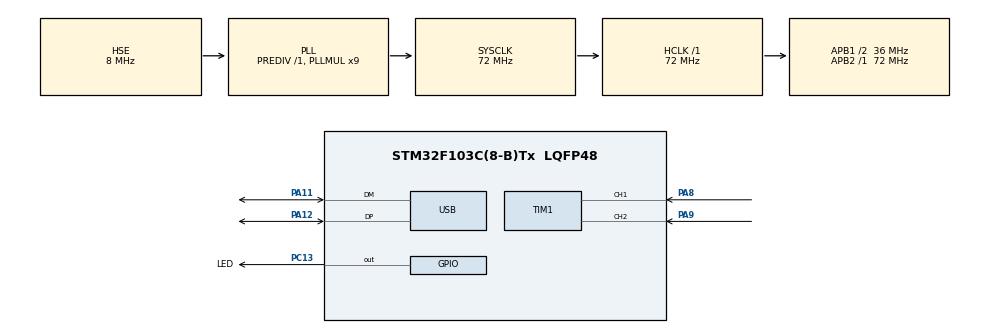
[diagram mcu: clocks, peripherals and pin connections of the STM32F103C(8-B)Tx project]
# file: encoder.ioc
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Mcu.Family=STM32F1
Mcu.Name=STM32F103C(8-B)Tx
Mcu.Package=LQFP48
NVIC.PriorityGroup=NVIC_PRIORITYGROUP_4
NVIC.TIM3_IRQn=true\:0\:0\:false\:false\:true\:true\:true\:true
NVIC.USB_LP_CAN1_RX0_IRQn=true\:0\:0\:false\:false\:true\:false\:true\:true
PA11.Mode=Device
PA11.Signal=USB_DM
PA12.Mode=Device
PA12.Signal=USB_DP
PA8.GPIO_PuPd=GPIO_PULLUP
PA8.Signal=S_TIM1_CH1
PA9.GPIO_PuPd=GPIO_PULLUP
PA9.Signal=S_TIM1_CH2
PC13-TAMPER-RTC.GPIO_Label=LED
PC13-TAMPER-RTC.Signal=GPIO_Output
PD0-OSC_IN.Mode=HSE-External-Oscillator
PD0-OSC_IN.Signal=RCC_OSC_IN
PD1-OSC_OUT.Mode=HSE-External-Oscillator
PD1-OSC_OUT.Signal=RCC_OSC_OUT
ProjectManager.HeapSize=0x200
ProjectManager.StackSize=0x400
ProjectManager.TargetToolchain=STM32CubeIDE
RCC.AHBFreq_Value=72000000
RCC.APB1CLKDivider=RCC_HCLK_DIV2
RCC.APB1Freq_Value=36000000
RCC.APB1TimFreq_Value=72000000
RCC.APB2Freq_Value=72000000
RCC.APB2TimFreq_Value=72000000
RCC.HCLKFreq_Value=72000000
RCC.PLLMUL=RCC_PLL_MUL9
RCC.SYSCLKFreq_VALUE=72000000
RCC.SYSCLKSource=RCC_SYSCLKSOURCE_PLLCLK
RCC.USBFreq_Value=48000000
RCC.USBPrescaler=RCC_USBCLKSOURCE_PLL_DIV1_5
SH.S_TIM1_CH1.0=TIM1_CH1,Encoder_Interface
SH.S_TIM1_CH2.0=TIM1_CH2,Encoder_Interface
TIM1.TIM_MasterOutputTrigger=TIM_TRGO_OC1
TIM3.Channel-Input_Capture1_from_TRC=TIM_CHANNEL_1
TIM3.Prescaler=16-1
USB_DEVICE.CLASS_NAME_FS=CDC
USB_DEVICE.VirtualMode=Cdc
USB_DEVICE.VirtualModeFS=Cdc_FS
VP_TIM3_VS_CH1.Mode=Input_Capture1_from_TRC
VP_TIM3_VS_ClockSourceINT.Mode=Internal
VP_TIM3_VS_ClockSourceITR.Mode=TriggerSource_ITR0
VP_TIM3_VS_ControllerModeReset.Mode=Reset Mode
VP_USB_DEVICE_VS_USB_DEVICE_CDC_FS.Mode=CDC_FS
board=custom

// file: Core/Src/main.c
/* USER CODE BEGIN Header */
/**
  ******************************************************************************
  * @file           : main.c
  * @brief          : Main program body
  ******************************************************************************
  * @attention
  *
  * Copyright (c) 2023 STMicroelectronics.
  * All rights reserved.
  *
  * This software is licensed under terms that can be found in the LICENSE file
  * in the root directory of this software component.
  * If no LICENSE file comes with this software, it is provided AS-IS.
  *
  ******************************************************************************
  */
/* USER CODE END Header */
#include "main.h"
#include "usb_device.h"

/* USER CODE BEGIN Includes */
#include "usbd_cdc_if.h"
#include "string.h"
#include "stdio.h"
/* USER CODE END Includes */

TIM_HandleTypeDef htim1;
TIM_HandleTypeDef htim3;

/* USER CODE BEGIN PV */
volatile uint32_t tim1_cnt=0,direction,rise=0;
volatile float freq;
uint8_t buffer1 [] = "UP\n";
uint8_t buffer2 [] = "DOWN\n";
uint16_t buffer [];
/* USER CODE END PV */

void SystemClock_Config(void);
static void MX_GPIO_Init(void);
static void MX_TIM1_Init(void);
static void MX_TIM3_Init(void);

int main(void)
{

  /* MCU Configuration--------------------------------------------------------*/

  /* Reset of all peripherals, Initializes the Flash interface and the Systick. */
  HAL_Init();

  /* Configure the system clock */
  SystemClock_Config();

  /* Initialize all configured peripherals */
  MX_GPIO_Init();
  MX_TIM1_Init();
  MX_TIM3_Init();
  MX_USB_DEVICE_Init();
  /* USER CODE BEGIN 2 */
  HAL_TIM_Encoder_Init(&htim1, TIM_CHANNEL_ALL);
  HAL_TIM_IC_Start_IT(&htim3,TIM_CHANNEL_1);
  /* USER CODE END 2 */

  /* Infinite loop */
  while (1)
  {

    /* USER CODE BEGIN 3 */
	tim1_cnt = htim1.Instance->CNT;
	direction = !(__HAL_TIM_IS_TIM_COUNTING_DOWN(&htim1));

	if (direction){
		HAL_GPIO_WritePin(GPIOC, LED_Pin, GPIO_PIN_RESET);
		CDC_Transmit_FS(buffer1, strlen(buffer1));
	}
	else{
		HAL_GPIO_WritePin(GPIOC, LED_Pin, GPIO_PIN_SET);
		CDC_Transmit_FS(buffer2, strlen(buffer2));
	}
	sprintf(buffer,"%.3f\n",freq);
	CDC_Transmit_FS(buffer, strlen(buffer));
	HAL_Delay(1000);
  }

  /* USER CODE END 3 */
}

void SystemClock_Config(void)
{
  RCC_OscInitTypeDef RCC_OscInitStruct = {0};
  RCC_ClkInitTypeDef RCC_ClkInitStruct = {0};
  RCC_PeriphCLKInitTypeDef PeriphClkInit = {0};

  /** Initializes the RCC Oscillators according to the specified parameters
  * in the RCC_OscInitTypeDef structure.
  */
  RCC_OscInitStruct.OscillatorType = RCC_OSCILLATORTYPE_HSE;
  RCC_OscInitStruct.HSEState = RCC_HSE_ON;
  RCC_OscInitStruct.HSEPredivValue = RCC_HSE_PREDIV_DIV1;
  RCC_OscInitStruct.HSIState = RCC_HSI_ON;
  RCC_OscInitStruct.PLL.PLLState = RCC_PLL_ON;
  RCC_OscInitStruct.PLL.PLLSource = RCC_PLLSOURCE_HSE;
  RCC_OscInitStruct.PLL.PLLMUL = RCC_PLL_MUL9;
  if (HAL_RCC_OscConfig(&RCC_OscInitStruct) != HAL_OK)
  {
    Error_Handler();
  }

  /** Initializes the CPU, AHB and APB buses clocks
  */
  RCC_ClkInitStruct.ClockType = RCC_CLOCKTYPE_HCLK|RCC_CLOCKTYPE_SYSCLK
                              |RCC_CLOCKTYPE_PCLK1|RCC_CLOCKTYPE_PCLK2;
  RCC_ClkInitStruct.SYSCLKSource = RCC_SYSCLKSOURCE_PLLCLK;
  RCC_ClkInitStruct.AHBCLKDivider = RCC_SYSCLK_DIV1;
  RCC_ClkInitStruct.APB1CLKDivider = RCC_HCLK_DIV2;
  RCC_ClkInitStruct.APB2CLKDivider = RCC_HCLK_DIV1;

  if (HAL_RCC_ClockConfig(&RCC_ClkInitStruct, FLASH_LATENCY_2) != HAL_OK)
  {
    Error_Handler();
  }
  PeriphClkInit.PeriphClockSelection = RCC_PERIPHCLK_USB;
  PeriphClkInit.UsbClockSelection = RCC_USBCLKSOURCE_PLL_DIV1_5;
  if (HAL_RCCEx_PeriphCLKConfig(&PeriphClkInit) != HAL_OK)
  {
    Error_Handler();
  }
}

static void MX_TIM1_Init(void)
{

  TIM_Encoder_InitTypeDef sConfig = {0};
  TIM_MasterConfigTypeDef sMasterConfig = {0};

  htim1.Instance = TIM1;
  htim1.Init.Prescaler = 0;
  htim1.Init.CounterMode = TIM_COUNTERMODE_UP;
  htim1.Init.Period = 65535;
  htim1.Init.ClockDivision = TIM_CLOCKDIVISION_DIV1;
  htim1.Init.RepetitionCounter = 0;
  htim1.Init.AutoReloadPreload = TIM_AUTORELOAD_PRELOAD_DISABLE;
  sConfig.EncoderMode = TIM_ENCODERMODE_TI1;
  sConfig.IC1Polarity = TIM_ICPOLARITY_RISING;
  sConfig.IC1Selection = TIM_ICSELECTION_DIRECTTI;
  sConfig.IC1Prescaler = TIM_ICPSC_DIV1;
  sConfig.IC1Filter = 0;
  sConfig.IC2Polarity = TIM_ICPOLARITY_RISING;
  sConfig.IC2Selection = TIM_ICSELECTION_DIRECTTI;
  sConfig.IC2Prescaler = TIM_ICPSC_DIV1;
  sConfig.IC2Filter = 0;
  if (HAL_TIM_Encoder_Init(&htim1, &sConfig) != HAL_OK)
  {
    Error_Handler();
  }
  sMasterConfig.MasterOutputTrigger = TIM_TRGO_OC1;
  sMasterConfig.MasterSlaveMode = TIM_MASTERSLAVEMODE_DISABLE;
  if (HAL_TIMEx_MasterConfigSynchronization(&htim1, &sMasterConfig) != HAL_OK)
  {
    Error_Handler();
  }

}

static void MX_TIM3_Init(void)
{

  TIM_ClockConfigTypeDef sClockSourceConfig = {0};
  TIM_SlaveConfigTypeDef sSlaveConfig = {0};
  TIM_MasterConfigTypeDef sMasterConfig = {0};
  TIM_IC_InitTypeDef sConfigIC = {0};

  htim3.Instance = TIM3;
  htim3.Init.Prescaler = 16-1;
  htim3.Init.CounterMode = TIM_COUNTERMODE_UP;
  htim3.Init.Period = 65535;
  htim3.Init.ClockDivision = TIM_CLOCKDIVISION_DIV1;
  htim3.Init.AutoReloadPreload = TIM_AUTORELOAD_PRELOAD_DISABLE;
  if (HAL_TIM_Base_Init(&htim3) != HAL_OK)
  {
    Error_Handler();
  }
  sClockSourceConfig.ClockSource = TIM_CLOCKSOURCE_INTERNAL;
  if (HAL_TIM_ConfigClockSource(&htim3, &sClockSourceConfig) != HAL_OK)
  {
    Error_Handler();
  }
  if (HAL_TIM_IC_Init(&htim3) != HAL_OK)
  {
    Error_Handler();
  }
  sSlaveConfig.SlaveMode = TIM_SLAVEMODE_RESET;
  sSlaveConfig.InputTrigger = TIM_TS_ITR0;
  if (HAL_TIM_SlaveConfigSynchro(&htim3, &sSlaveConfig) != HAL_OK)
  {
    Error_Handler();
  }
  sMasterConfig.MasterOutputTrigger = TIM_TRGO_RESET;
  sMasterConfig.MasterSlaveMode = TIM_MASTERSLAVEMODE_DISABLE;
  if (HAL_TIMEx_MasterConfigSynchronization(&htim3, &sMasterConfig) != HAL_OK)
  {
    Error_Handler();
  }
  sConfigIC.ICPolarity = TIM_INPUTCHANNELPOLARITY_RISING;
  sConfigIC.ICSelection = TIM_ICSELECTION_TRC;
  sConfigIC.ICPrescaler = TIM_ICPSC_DIV1;
  sConfigIC.ICFilter = 0;
  if (HAL_TIM_IC_ConfigChannel(&htim3, &sConfigIC, TIM_CHANNEL_1) != HAL_OK)
  {
    Error_Handler();
  }

}

static void MX_GPIO_Init(void)
{
  GPIO_InitTypeDef GPIO_InitStruct = {0};

  /* GPIO Ports Clock Enable */
  __HAL_RCC_GPIOC_CLK_ENABLE();
  __HAL_RCC_GPIOD_CLK_ENABLE();
  __HAL_RCC_GPIOA_CLK_ENABLE();

  /*Configure GPIO pin Output Level */
  HAL_GPIO_WritePin(LED_GPIO_Port, LED_Pin, GPIO_PIN_RESET);

  /*Configure GPIO pin : LED_Pin */
  GPIO_InitStruct.Pin = LED_Pin;
  GPIO_InitStruct.Mode = GPIO_MODE_OUTPUT_PP;
  GPIO_InitStruct.Pull = GPIO_NOPULL;
  GPIO_InitStruct.Speed = GPIO_SPEED_FREQ_LOW;
  HAL_GPIO_Init(LED_GPIO_Port, &GPIO_InitStruct);

}

void Error_Handler(void)
{
  __disable_irq();
  while (1)
  {
  }
}
